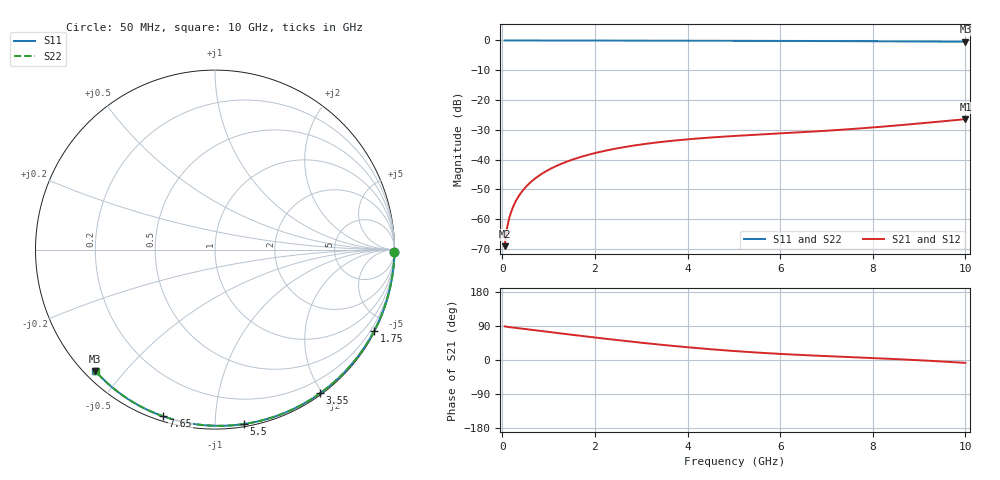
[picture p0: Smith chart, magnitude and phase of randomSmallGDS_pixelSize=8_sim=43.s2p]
! freq	dB(S11)	phase(S11)	dB(S12)	phase(S12)
!  dB(S21)	phase(S21)	dB(S22)	phase(S22)
!S-par simulation data
#  GHz  S  DB  R 50
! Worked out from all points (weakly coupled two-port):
!   200 points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, 50 MHz to 10 GHz, reference 50 ohm
!   highest |S21| = -26.44 dB at 10 GHz (marker M1); lowest = -69.1 dB at 50 MHz (marker M2)
!   lowest |S11| = -0.4 dB at 10 GHz (marker M3), VSWR 38.79, Z = 1.51 - j20.9 ohm
!   |S11| at or under -10 dB: nowhere
!   |S22| runs from -0.4 to 0.0 dB; largest |S21 - S12| = 0
!   S11 on the Smith chart (normalised r, x): 50 MHz: open; 1.75 GHz: 0.04, -4.13; 3.55 GHz: 0.02, -1.97; 5.5 GHz: 0.02, -1.18; 7.65 GHz: 0.02, -0.74; 10 GHz: 0.03, -0.42
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0.05  -0.00 -0.8  -69.09 88.8  -69.09 88.8  -0.00 -0.8
0.1  -0.00 -1.6  -63.12 87.7  -63.12 87.7  -0.00 -1.6
0.15  -0.00 -2.4  -59.64 86.8  -59.64 86.8  -0.00 -2.4
0.2  -0.00 -3.2  -57.19 86.0  -57.19 86.0  -0.00 -3.2
0.25  -0.00 -4.0  -55.28 85.3  -55.28 85.3  -0.00 -4.0
0.35  -0.00 -5.5  -52.40 83.8  -52.40 83.8  -0.00 -5.5
0.5  -0.01 -7.9  -49.34 81.7  -49.34 81.7  -0.01 -7.9
0.7  -0.01 -11.0  -46.46 78.7  -46.46 78.7  -0.01 -11.0
1  -0.02 -15.7  -43.44 74.1  -43.44 74.1  -0.02 -15.7
1.35  -0.03 -21.1  -40.95 68.9  -40.95 68.9  -0.03 -21.1
1.75  -0.03 -27.2  -38.87 63.0  -38.87 63.0  -0.03 -27.2
2.5  -0.05 -38.5  -36.18 52.3  -36.18 52.3  -0.05 -38.5
3.4  -0.07 -51.7  -34.14 40.6  -34.14 40.6  -0.07 -51.7
3.55  -0.07 -53.9  -33.89 38.8  -33.89 38.8  -0.07 -53.8
4.3  -0.09 -64.4  -32.83 30.4  -32.83 30.4  -0.09 -64.4
5.05  -0.11 -74.6  -32.04 23.3  -32.04 23.3  -0.11 -74.5
5.5  -0.13 -80.5  -31.64 19.6  -31.64 19.6  -0.13 -80.5
6.7  -0.18 -95.8  -30.61 11.9  -30.61 11.9  -0.18 -95.7
7.65  -0.24 -107.3  -29.63 6.9  -29.63 6.9  -0.24 -107.3
8.35  -0.29 -115.6  -28.77 3.2  -28.77 3.2  -0.29 -115.5
9.2  -0.37 -125.4  -27.60 -1.9  -27.60 -1.9  -0.36 -125.4
10  -0.45 -134.6  -26.44 -7.5  -26.44 -7.5  -0.45 -134.5
